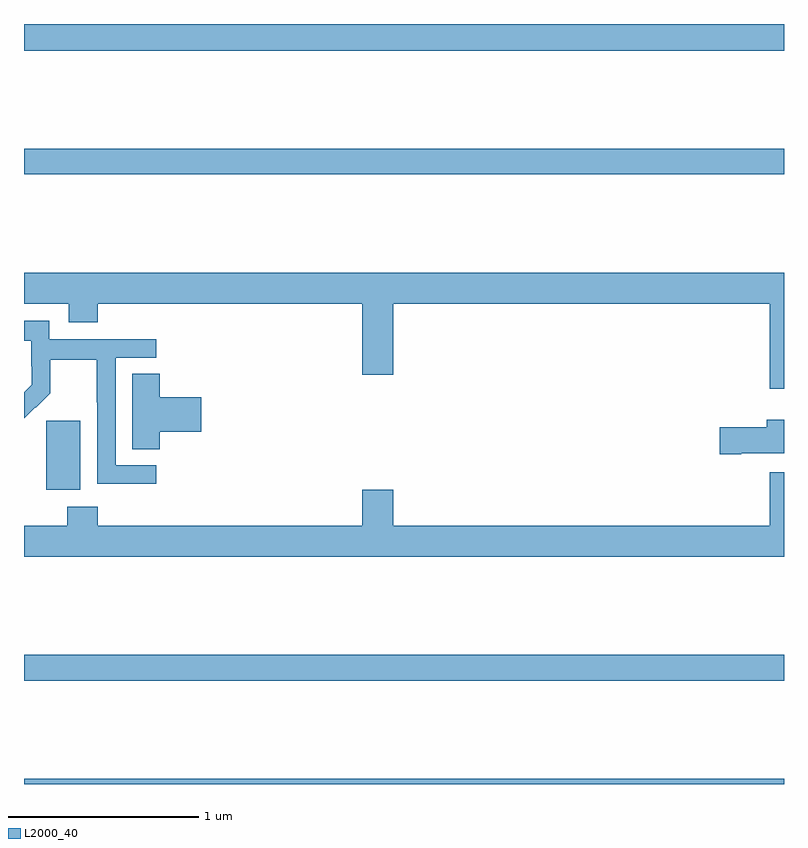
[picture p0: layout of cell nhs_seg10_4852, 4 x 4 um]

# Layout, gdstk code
import gdstk
lib = gdstk.Library(unit=1e-6, precision=1e-09)
def R(c, l, rs):  # rectangles x0, y0, x1, y1
    for r in rs: c.add(gdstk.rectangle(r[:2], r[2:], *l))
def P(c, l, *ps):  # polygons
    for p in ps: c.add(gdstk.Polygon(p, *l))
L2000_40 = (2000, 40)

nhs_seg10_4852 = lib.new_cell('nhs_seg10_4852')
R(nhs_seg10_4852, L2000_40, [(391,1252.5,395,1252.528), (391,1253.044,395,1253.18), (391.118,1254.05,391.297,1254.411), (391,1255.708,395,1255.844), (391,1256.36,395,1256.5)])
P(nhs_seg10_4852, L2000_40, [(395,1255.192),(391,1255.192),(391,1255.028),(391.235,1255.028),(391.235,1254.929),(391.388,1254.929),(391.388,1255.028),(392.78,1255.028),(392.78,1254.654),(392.944,1254.654),(392.944,1255.028),(394.926,1255.028),(394.926,1254.579),(395,1254.579)],
  [(391.696,1254.177),(391.482,1254.177),(391.482,1254.744),(391.696,1254.744),(391.696,1254.84),(391.134,1254.84),(391.134,1254.937),(391,1254.937),(391,1254.833),(391.038,1254.833),(391.038,1254.699),(391.04,1254.699),(391.04,1254.602),(391,1254.562),(391,1254.424),(391.059,1254.483),(391.062,1254.48),(391.139,1254.557),(391.139,1254.732),(391.384,1254.732),(391.384,1254.508),(391.386,1254.508),(391.386,1254.079),(391.696,1254.079)],
  [(391.715,1254.353),(391.933,1254.353),(391.933,1254.536),(391.715,1254.536),(391.715,1254.659),(391.571,1254.659),(391.571,1254.262),(391.715,1254.262)],
  [(394.774,1254.242),(395,1254.242),(395,1254.418),(394.91,1254.418),(394.91,1254.377),(394.662,1254.377),(394.662,1254.235),(394.774,1254.235)],
  [(395,1254.142),(394.926,1254.142),(394.926,1253.86),(392.944,1253.86),(392.944,1254.049),(392.78,1254.049),(392.78,1253.86),(391.388,1253.86),(391.388,1253.959),(391.228,1253.959),(391.228,1253.86),(391,1253.86),(391,1253.696),(395,1253.696)])

lib.write_gds('nhs_seg10_4852.gds')
